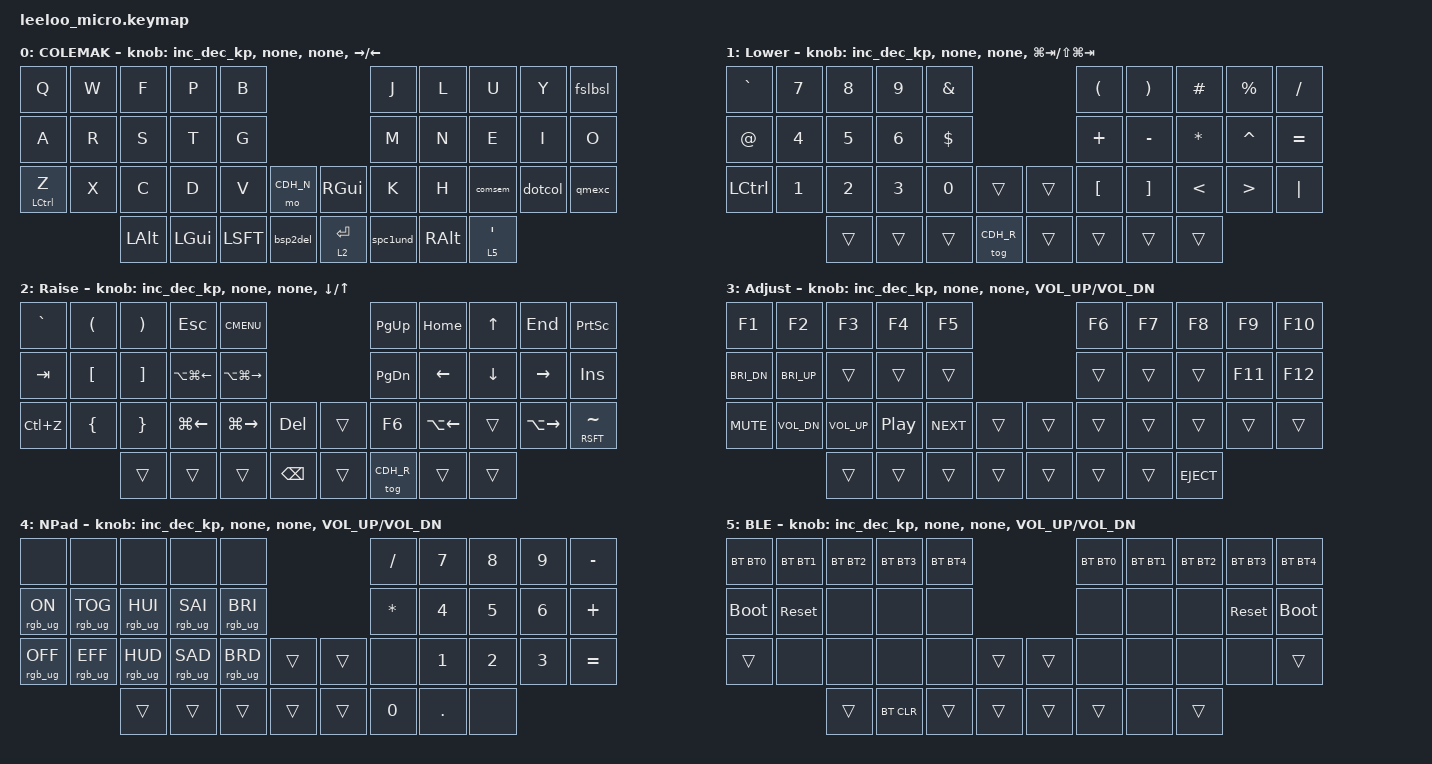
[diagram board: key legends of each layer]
/*
 * Copyright (c) 2023 The ZMK Contributors
 * SPDX-License-Identifier: MIT
 */

#include <behaviors.dtsi>
#include <dt-bindings/zmk/outputs.h>
#include <dt-bindings/zmk/keys.h>
#include <dt-bindings/zmk/bt.h>
#include <dt-bindings/zmk/rgb.h>

// Layers
#define CDH_M    0       // Main
#define CDH_L    1       // Lower
#define CDH_R    2       // Raise
#define CDH_A    3       // Adjust

#define CDH_N    4       // Number Pad
#define CDH_B    5       // BLE


// Short versions
#define BT0         BT_SEL 0
#define BT1         BT_SEL 1
#define BT2         BT_SEL 2
#define BT3         BT_SEL 3
#define BT4         BT_SEL 4

#define BOOTLDR     &bootloader

#define VOLUP   C_VOL_UP
#define VOLDN   C_VOL_DN
#define VOLMT   C_MUTE

#define BRIUP   C_BRI_UP
#define BRIDN   C_BRI_DN

#define RGBON   &rgb_ug RGB_ON
#define RGBOFF  &rgb_ug RGB_OFF
#define RGBTOG  &rgb_ug RGB_TOG
#define RGBHUI  &rgb_ug RGB_HUI
#define RGBHUD  &rgb_ug RGB_HUD
#define RGBSAI  &rgb_ug RGB_SAI
#define RGBSAD  &rgb_ug RGB_SAD
#define RGBBRI  &rgb_ug RGB_BRI
#define RGBBRD  &rgb_ug RGB_BRD
#define RGBEFF  &rgb_ug RGB_EFF


/*
 * Assign the cs-gpios pin to 4.
 * Uncomment these next few lines if implementing nice!view Displays
 */
//nice_view_spi: &spi0 {
//    cs-gpios = <&pro_micro 4 GPIO_ACTIVE_HIGH>;
//};


/ {
    conditional_layers {
        compatible = "zmk,conditional-layers";
        adjust_win_layer {
            if-layers = <CDH_L CDH_R>;
            then-layer = <CDH_A>;
        };
    };

    combos {
        compatible = "zmk,combos";

        combo_esc {
            timeout-ms = <50>;
            key-positions = <0 1>;
            layers = <CDH_M>;
            bindings = <&kp ESC>;
        };
        combo_mac_cut {
            timeout-ms = <50>;
            key-positions = <21 22>;
            layers = <CDH_M>;
            bindings = <&kp RG(X)>;
        };
        combo_mac_copy {
            timeout-ms = <50>;
            key-positions = <22 23>;
            layers = <CDH_M>;
            bindings = <&kp RG(C)>;
        };
        combo_mac_paste {
            timeout-ms = <50>;
            key-positions = <23 24>;
            layers = <CDH_M>;
            bindings = <&kp RG(V)>;
        };
    };

    behaviors {
        qmexc: qmark_excl {
            compatible = "zmk,behavior-mod-morph";
            label = "QUESTION_EXCLAMATION";
            #binding-cells = <0>;
            bindings = <&kp QMARK>, <&kp EXCL>;
            mods = <(MOD_LSFT|MOD_RSFT)>;
        };
        bsp2del: bspc_l2_del {
            compatible = "zmk,behavior-mod-morph";
            label = "BACKSPACE_L2_DELETE";
            #binding-cells = <0>;
            bindings = <&lt 2 BSPC>, <&kp DEL>;
            mods = <(MOD_LSFT|MOD_RSFT)>;
        };
        comsem: comma_semi {
            compatible = "zmk,behavior-mod-morph";
            label = "COMMA_SEMI_COLON";
            #binding-cells = <0>;
            bindings = <&kp COMMA>, <&kp SEMI>;
            mods = <(MOD_LSFT|MOD_RSFT)>;
        };
        dotcol: dot_colon {
            compatible = "zmk,behavior-mod-morph";
            label = "DOT_COLON";
            #binding-cells = <0>;
            bindings = <&kp DOT>, <&kp COLON>;
            mods = <(MOD_LSFT|MOD_RSFT)>;
        };
        fslbsl: fslh_bslh {
            compatible = "zmk,behavior-mod-morph";
            label = "SLASH_BACKSLASH";
            #binding-cells = <0>;
            bindings = <&kp FSLH>, <&kp BSLH>;
            mods = <(MOD_LSFT|MOD_RSFT)>;
        };
        spc1und: spc1_under {
            compatible = "zmk,behavior-mod-morph";
            label = "SPACE_L1_UNDERSCORE";
            #binding-cells = <0>;
            bindings = <&lt 1 SPACE>, <&kp UNDERSCORE>;
            mods = <(MOD_LSFT|MOD_RSFT)>;
        };
    };

    keymap {
        compatible = "zmk,keymap";

        default_CDH_layer {
            label = " COLEMAK";
            bindings = <
&kp Q       &kp W      &kp F      &kp P      &kp B                            &kp J      &kp L      &kp U      &kp Y      &fslbsl
&kp A       &kp R      &kp S      &kp T      &kp G                            &kp M      &kp N      &kp E      &kp I      &kp O
&mt LCTRL Z &kp X      &kp C      &kp D      &kp V     &mo CDH_N   &kp RGUI   &kp K      &kp H      &comsem    &dotcol    &qmexc
                       &kp LALT   &kp LGUI   &kp LSFT  &bsp2del    &lt 2 RET  &spc1und   &kp RALT   &lt 5 SQT
            >;

            sensor-bindings = <&inc_dec_kp &none &none &inc_dec_kp RIGHT LEFT>;
        };

        lower_CDH_layer {
            label = " Lower";
            bindings = <
&kp GRAVE  &kp N7     &kp N8     &kp N9     &kp AMPS                         &kp LPAR   &kp RPAR   &kp HASH   &kp PRCNT  &kp FSLH
&kp AT     &kp N4     &kp N5     &kp N6     &kp DLLR                         &kp PLUS   &kp MINUS  &kp STAR   &kp CARET  &kp EQUAL
&kp LCTRL  &kp N1     &kp N2     &kp N3     &kp N0     &trans     &trans     &kp LBKT   &kp RBKT   &kp LT     &kp GT     &kp PIPE
                      &trans     &trans     &trans     &tog CDH_R &trans     &trans     &trans     &trans
            >;

            sensor-bindings = <&inc_dec_kp &none &none &inc_dec_kp LG(TAB) LS(LG(TAB))>;
        };

        raise_CDH_layer {
            label = " Raise";
            bindings = <
&kp GRAVE  &kp LPAR   &kp RPAR   &kp ESC          &kp K_CMENU                             &kp PG_UP  &kp HOME     &kp UP     &kp END        &kp PSCRN
&kp TAB    &kp LBKT   &kp RBKT   &kp LA(LG(LEFT)) &kp LA(LG(RIGHT))                       &kp PG_DN  &kp LEFT     &kp DOWN   &kp RIGHT      &kp INS
&kp LC(Z)  &kp LBRC   &kp RBRC   &kp LG(LEFT)     &kp LG(RIGHT)     &kp DEL    &trans     &kp F6     &kp LA(LEFT) &trans     &kp LA(RIGHT)  &mt RSFT TILDE
                      &trans     &trans           &trans            &kp BSPC   &trans     &tog CDH_R &trans       &trans
            >;

            sensor-bindings = <&inc_dec_kp &none &none &inc_dec_kp DOWN UP>;
        };

        adjust_CDH_layer {
            label = " Adjust";
            bindings = <

&kp F1     &kp F2     &kp F3     &kp F4     &kp F5                           &kp F6     &kp F7     &kp F8     &kp F9     &kp F10
&kp BRIDN  &kp BRIUP  &trans     &trans     &trans                           &trans     &trans     &trans     &kp F11    &kp F12
&kp VOLMT  &kp VOLDN  &kp VOLUP  &kp C_PP   &kp C_NEXT &trans     &trans     &trans     &trans     &trans     &trans     &trans
                      &trans     &trans     &trans     &trans     &trans     &trans     &trans     &kp K_EJECT
            >;

            sensor-bindings = <&inc_dec_kp &none &none &inc_dec_kp C_VOL_UP C_VOL_DN>;
        };

        numpad_layer {
            label = " NPad";
            bindings = <

&none      &none      &none      &none      &none                            &kp SLASH  &kp N7     &kp N8     &kp N9     &kp MINUS
RGBON      RGBTOG     RGBHUI     RGBSAI     RGBBRI                           &kp ASTRK  &kp N4     &kp N5     &kp N6     &kp PLUS 
RGBOFF     RGBEFF     RGBHUD     RGBSAD     RGBBRD     &trans     &trans     &none      &kp N1     &kp N2     &kp N3     &kp EQUAL
                      &trans     &trans     &trans     &trans     &trans     &kp N0     &kp DOT    &none
            >;

            sensor-bindings = <&inc_dec_kp &none &none &inc_dec_kp C_VOL_UP C_VOL_DN>;
        };

        ble_layer {
            label = " BLE";
            bindings = <

&bt BT0    &bt BT1    &bt BT2    &bt BT3    &bt BT4                          &bt BT0    &bt BT1    &bt BT2    &bt BT3    &bt BT4
BOOTLDR    &sys_reset &none      &none      &none                            &none      &none      &none      &sys_reset BOOTLDR
&trans     &none      &none      &none      &none      &trans     &trans     &none      &none      &none      &none      &trans
                      &trans     &bt BT_CLR &trans     &trans     &trans     &trans     &none      &trans
            >;

            sensor-bindings = <&inc_dec_kp &none &none &inc_dec_kp C_VOL_UP C_VOL_DN>;
        };

    };
};
